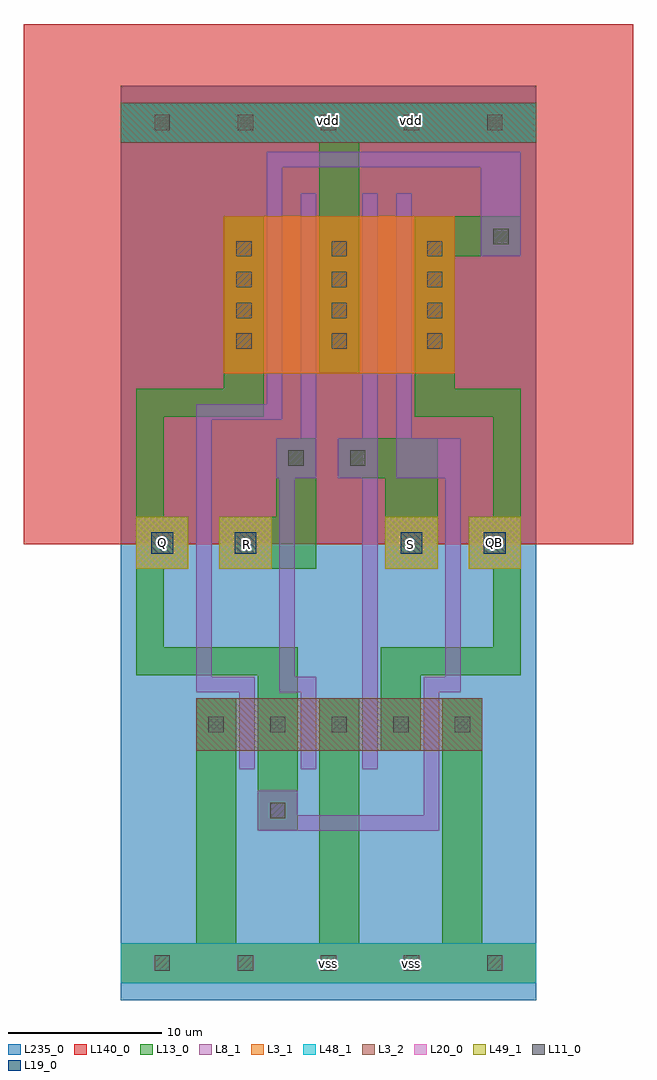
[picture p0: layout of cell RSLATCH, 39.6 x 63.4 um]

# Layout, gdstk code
import gdstk
lib = gdstk.Library(unit=1e-6, precision=1e-09)
def R(c, l, rs):  # rectangles x0, y0, x1, y1
    for r in rs: c.add(gdstk.rectangle(r[:2], r[2:], *l))
def A(c, l, x, y, w, h, nx, ny, dx, dy):  # array of equal rectangles
    R(c, l, [(x+i*dx, y+j*dy, x+i*dx+w, y+j*dy+h) for i in range(nx) for j in range(ny)])
def P(c, l, *ps):  # polygons
    for p in ps: c.add(gdstk.Polygon(p, *l))
L3_1 = (3, 1)
L3_2 = (3, 2)
L8_1 = (8, 1)
L11_0 = (11, 0)
L13_0 = (13, 0)
L19_0 = (19, 0)
L20_0 = (20, 0)
L48_1 = (48, 1)
L49_1 = (49, 1)
L140_0 = (140, 0)
L235_0 = (235, 0)

rslatch = lib.new_cell('RSLATCH')
R(rslatch, L3_1, [(0,1.1,27,3.7), (6.7,40.7,21.7,50.9)])
R(rslatch, L3_2, [(4.9,16.2,23.5,19.6), (0,55.7,27,58.3)])
P(rslatch, L8_1, [(11.7,15),(11.7,20),(10.3,20),(10.3,33.9),(10.1,33.9),(10.1,36.5),(11.7,36.5),(11.7,52.4),(12.7,52.4),(12.7,33.9),(11.3,33.9),(11.3,21),(12.7,21),(12.7,15)],
  [(15.7,15),(15.7,33.9),(14.1,33.9),(14.1,36.5),(15.7,36.5),(15.7,52.4),(16.7,52.4),(16.7,15)],
  [(8.9,11),(8.9,13.6),(11.5,13.6),(11.5,12),(19.7,12),(19.7,21),(21.1,21),(21.1,33.9),(17.9,33.9),(17.9,52.4),(18.9,52.4),(18.9,36.5),(22.1,36.5),(22.1,20),(20.7,20),(20.7,11)],
  [(7.7,15),(7.7,20),(4.9,20),(4.9,38.7),(9.5,38.7),(9.5,55.1),(26,55.1),(26,48.3),(23.4,48.3),(23.4,54.1),(10.5,54.1),(10.5,37.7),(5.9,37.7),(5.9,21),(8.7,21),(8.7,15)])
A(rslatch, L11_0, 7.6, 1.9, 1, 1, 4, 1, 5.4, 0)
A(rslatch, L11_0, 5.7, 17.4, 1, 1, 3, 1, 4, 0)
A(rslatch, L11_0, 13.7, 17.4, 1, 1, 3, 1, 4, 0)
A(rslatch, L11_0, 7.5, 42.3, 1, 1, 1, 4, 0, 2)
A(rslatch, L11_0, 19.9, 42.3, 1, 1, 1, 4, 0, 2)
R(rslatch, L11_0, [(2.2,1.9,3.2,2.9), (7.6,1.9,8.6,2.9), (23.8,1.9,24.8,2.9), (9.7,11.8,10.7,12.8), (10.9,34.7,11.9,35.7), (14.9,34.7,15.9,35.7), (13.7,42.3,14.7,43.3), (13.7,42.3,14.7,43.3), (13.7,44.3,14.7,45.3), (13.7,44.3,14.7,45.3), (13.7,46.3,14.7,47.3), (13.7,46.3,14.7,47.3), (13.7,48.3,14.7,49.3), (13.7,48.3,14.7,49.3), (24.2,49.1,25.2,50.1), (2.2,56.5,3.2,57.5), (7.6,56.5,8.6,57.5), (7.6,56.5,8.6,57.5), (7.6,56.5,8.6,57.5), (7.6,56.5,8.6,57.5), (13,56.5,14,57.5), (13,56.5,14,57.5), (18.4,56.5,19.4,57.5), (18.4,56.5,19.4,57.5), (23.8,56.5,24.8,57.5), (23.8,56.5,24.8,57.5), (23.8,56.5,24.8,57.5), (23.8,56.5,24.8,57.5)])
A(rslatch, L13_0, 4.9, 3.7, 2.6, 15.9, 3, 1, 8, 0)
R(rslatch, L13_0, [(0,1.1,27,3.7), (12.9,40.7,15.5,55.7), (0,55.7,27,58.3)])
P(rslatch, L13_0, [(8.9,11),(8.9,21.1),(1,21.1),(1,39.7),(6.7,39.7),(6.7,50.9),(9.3,50.9),(9.3,37.9),(2.8,37.9),(2.8,31.4),(4.4,31.4),(4.4,28),(2.8,28),(2.8,22.9),(11.5,22.9),(11.5,11)],
  [(16.9,16.2),(16.9,22.9),(24.2,22.9),(24.2,28),(22.6,28),(22.6,31.4),(24.2,31.4),(24.2,37.9),(19.1,37.9),(19.1,50.9),(26,50.9),(26,48.3),(21.7,48.3),(21.7,39.7),(26,39.7),(26,21.1),(19.5,21.1),(19.5,16.2)],
  [(6.4,28),(6.4,31.4),(10.1,31.4),(10.1,36.5),(12.7,36.5),(12.7,28)],
  [(17.2,28),(17.2,33.9),(14.1,33.9),(14.1,36.5),(20.6,36.5),(20.6,28)])
R(rslatch, L19_0, [(2,29,3.4,30.4), (7.4,29,8.8,30.4), (18.2,29,19.6,30.4), (23.6,29,25,30.4)])
R(rslatch, L20_0, [(1,28,4.4,31.4), (6.4,28,9.8,31.4), (17.2,28,20.6,31.4), (22.6,28,26,31.4)])
R(rslatch, L48_1, [(0,1.1,27,3.7), (0,55.7,27,58.3)])
R(rslatch, L49_1, [(1,28,4.4,31.4), (6.4,28,9.8,31.4), (17.2,28,20.6,31.4), (22.6,28,26,31.4)])
R(rslatch, L140_0, [(-6.3,29.6,33.3,63.4)])
R(rslatch, L235_0, [(0,0,27,59.4)])
rslatch.add(gdstk.Label('QB', (24.3,29.7), layer=49, texttype=0))
rslatch.add(gdstk.Label('R', (8.2,29.6), layer=49, texttype=0))
rslatch.add(gdstk.Label('S', (18.8,29.6), layer=49, texttype=0))
rslatch.add(gdstk.Label('Q', (2.7,29.7), layer=49, texttype=0))
rslatch.add(gdstk.Label('vss', (13.5,2.4), layer=48, texttype=0))
rslatch.add(gdstk.Label('vss', (18.9,2.4), layer=48, texttype=0))
rslatch.add(gdstk.Label('vdd', (13.5,57.1), layer=48, texttype=0))
rslatch.add(gdstk.Label('vdd', (18.9,57.1), layer=48, texttype=0))

lib.write_gds('RSLATCH.gds')
